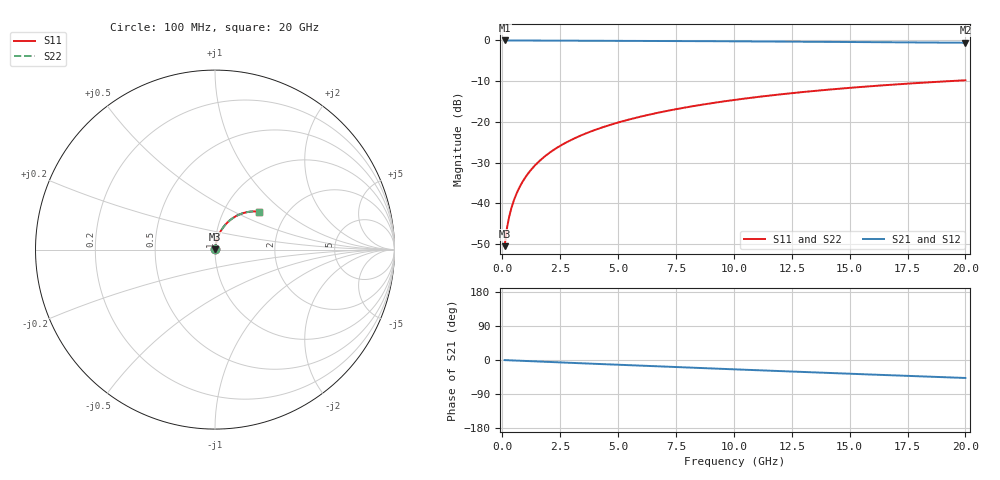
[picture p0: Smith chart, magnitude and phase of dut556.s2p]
! Touchstone file exported from HFSS 2026.1.0
!  File:  C:/ffzhzh/LocalFiles/Ansys_Project_Files/temp_train_TMRDL_556_1783007753_51716.aedt
!  Generated:  11:57:31 PM Jul  2, 2026
!  Design:  TMRDL
!  Project:  temp_train_TMRDL_556_1783007753_51716
! Variables:
!  h_bsmrdl = 2um
!  h_ox = 20um
!  h_rdl = 5um
!  h_sub = 80um
!  h_tmrdl = 5.91um
!  h_tsv = 80um
!  h_via = 3um
!  l_bsmrdl = 300um
!  l_sub = 1164.83um
!  l_tmrdl = 764.83um
!  m_sub = 200um
!  pitch = 50.46um
!  r_tsv = 6um
!  s_tmrdl = 10um
!  w_bsmrdl = 18um
!  w_sub = 500um
!  w_tmrdl = 28.2um
!  x_tsv_center1 = 778.93um
!  x_tsv_center2 = 1096.93um
!  x_tsv_center3 = 1889.96um
!  x_tsv_center4 = 2207.96um
!  x_tsv_center5 = 3000.99um
!  x_tsv_center6 = 3318.99um
# GHz S MA R 50.000000
! Terminal data exported
! Port[1] = TM_RDL1_1_T1
! Port[2] = TM_RDL1_1_T2
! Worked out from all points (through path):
!   200 points, 100 MHz to 20 GHz, reference 50 ohm
!   highest |S21| = -0.02 dB at 100 MHz (marker M1); lowest = -0.6 dB at 20 GHz (marker M2)
!   group delay of S21, straight-line fit = 6.58 ps
!   lowest |S11| = -50.5 dB at 100 MHz (marker M3), VSWR 1.01, Z = 50.2 + j0.231 ohm
!   |S11| at or under -10 dB: start of sweep to 19.34 GHz
!   |S22| runs from -50.5 to -9.8 dB; largest |S21 - S12| = 1.9e-14
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0.1  0.00297 50.9  0.9981 -0.3  0.9981 -0.3  0.00297 50.9
! Gamma 0 0 0 0
! Port Impedance 50 0 50 0
0.2  0.004916 64.7  0.9979 -0.5  0.9979 -0.5  0.004916 64.7
0.3  0.006883 70.5  0.9978 -0.8  0.9978 -0.8  0.006882 70.5
0.4  0.008851 73.8  0.9977 -1.0  0.9977 -1.0  0.008851 73.8
0.5  0.01083 75.9  0.9976 -1.3  0.9976 -1.3  0.01083 75.9
0.7  0.01483 78.4  0.9974 -1.8  0.9974 -1.8  0.01483 78.4
0.8  0.01684 79.1  0.9974 -2.1  0.9974 -2.1  0.01684 79.1
1  0.02087 80.0  0.9972 -2.6  0.9972 -2.6  0.02087 80.0
1.2  0.0249 80.4  0.9969 -3.1  0.9969 -3.1  0.0249 80.4
1.4  0.02892 80.5  0.9967 -3.6  0.9967 -3.6  0.02892 80.5
1.7  0.03492 80.3  0.9962 -4.3  0.9962 -4.3  0.03492 80.3
2  0.04088 80.0  0.9957 -5.1  0.9957 -5.1  0.04089 80.0
2.7  0.05461 78.8  0.9944 -6.9  0.9944 -6.9  0.05461 78.8
3.5  0.06997 77.2  0.9927 -8.8  0.9927 -8.8  0.06997 77.2
4.2  0.08318 75.7  0.9911 -10.6  0.9911 -10.6  0.08318 75.7
5  0.09802 73.9  0.9892 -12.5  0.9892 -12.5  0.09802 73.9
6.8  0.1306 70.0  0.9844 -16.9  0.9844 -16.9  0.1306 70.0
8.3  0.1567 66.6  0.9798 -20.5  0.9798 -20.5  0.1567 66.6
10.1  0.1869 62.6  0.9739 -24.8  0.9739 -24.8  0.1869 62.6
13.4  0.2384 55.2  0.9616 -32.6  0.9616 -32.6  0.2384 55.2
16.7  0.2841 47.9  0.9485 -40.1  0.9485 -40.1  0.2841 47.9
20  0.3237 40.7  0.9354 -47.4  0.9354 -47.4  0.3237 40.8
